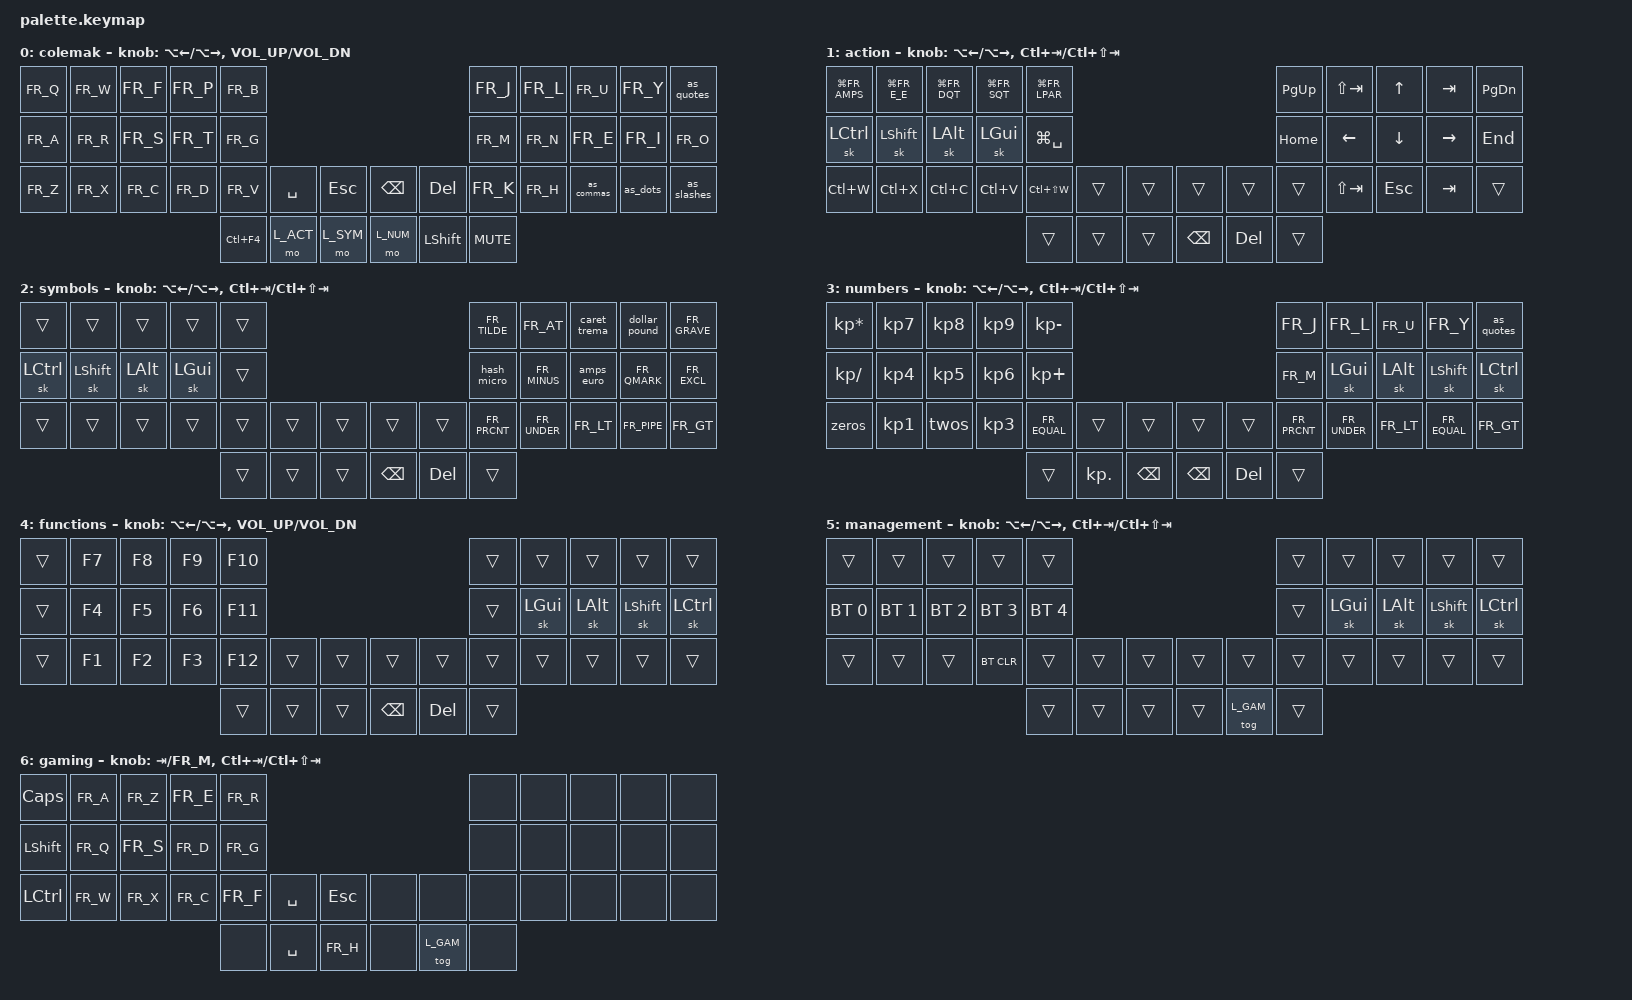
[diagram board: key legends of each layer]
#include <behaviors.dtsi>
#include <dt-bindings/zmk/keys.h>
#include <dt-bindings/zmk/bt.h>
#include <dt-bindings/zmk/outputs.h>
#include "keys_fr.h"
#include "layers.h"
#include "helpers.h"
#include "combos.h"

&caps_word {
    continue-list = <FR_M UNDERSCORE FR_MINUS BACKSPACE DELETE LSHIFT>;
};

&sk {
    release-after-ms = <10000>;
};

CUSTOM_KEY(zeros, FR_N0, FR_DEGREE)
CUSTOM_KEY(twos, FR_N2, FR_SQUARE)
CUSTOM_KEY(caret_trema, FR_CARET, FR_TREMA)
CUSTOM_KEY(amps_euro, FR_AMPS, FR_EURO)
CUSTOM_KEY(dollar_pound, FR_DOLLAR, FR_POUND_SIGN)
CUSTOM_KEY(hash_micro, FR_HASH, FR_MICRO)
CUSTOM_KEY(space_under, SPACE, FR_UNDER)

// BASE: Right hand custom keys with autoshift
CUSTOM_AUTOSHIFT(commas, FR_COMMA, FR_SEMI)
#define as_commas auto_shift_commas FR_SEMI 0

CUSTOM_AUTOSHIFT(dots, FR_DOT, FR_COLON)
#define as_dots auto_shift_dots FR_COLON 0

CUSTOM_AUTOSHIFT(quotes, FR_SINGLE_QUOTE, FR_DOUBLE_QUOTES)
#define as_quotes auto_shift_quotes FR_DOUBLE_QUOTES 0

CUSTOM_AUTOSHIFT(slashes, KP_SLASH, FR_BACKSLASH)
#define as_slashes auto_shift_slashes FR_BACKSLASH 0




/ {
    conditional_layers {
    };
    behaviors {
    };

    keymap {
        compatible = "zmk,keymap";

        base_layer {
            display-name = "colemak";
            bindings = <
// ╭───────────────┬───────────────┬───────────────┬───────────────┬───────────────╮                                                                          ╭───────────────┬───────────────┬───────────────┬───────────────┬───────────────╮
      &kp FR_Q        &kp FR_W        &kp FR_F        &kp FR_P        &kp FR_B                                                                                   &kp FR_J        &kp FR_L        &kp FR_U        &kp FR_Y        &as_quotes   
// ├───────────────┼───────────────┼───────────────┼───────────────┼───────────────┤                                                                          ├───────────────┼───────────────┼───────────────┼───────────────┼───────────────┤
      &kp FR_A        &kp FR_R        &kp FR_S        &kp FR_T        &kp FR_G                                                                                   &kp FR_M        &kp FR_N        &kp FR_E        &kp FR_I        &kp FR_O
// ├───────────────┼───────────────┼───────────────┼───────────────┼───────────────┼───────────────┬───────────────╮          ╭───────────────┬───────────────┼───────────────┼───────────────┼───────────────┼───────────────┼───────────────┤
      &kp FR_Z        &kp FR_X        &kp FR_C        &kp FR_D        &kp FR_V        &kp SPACE       &kp ESC                    &kp BSPC        &kp DEL         &kp FR_K        &kp FR_H        &as_commas      &as_dots        &as_slashes
// ╰───────────────┴───────────────┼───────────────┼───────────────┼───────────────┼───────────────┼───────────────┤          ├───────────────┼───────────────┼───────────────┼───────────────┼───────────────┼───────────────┴───────────────╯
                                                                      &kp LC(F4)      &mo L_ACT       &mo L_SYM                  &mo L_NUM       &kp LSHIFT      &kp C_MUTE
//                                                                 ╰───────────────┴───────────────┴───────────────╯          ╰───────────────┴───────────────┴───────────────╯
            >;
            sensor-bindings = <&inc_dec_kp LA(LEFT) LA(RIGHT) &inc_dec_kp C_VOL_UP C_VOL_DN>;
        };

        action_layer {
            display-name = "action";
            bindings = <
// ╭───────────────┬───────────────┬───────────────┬───────────────┬───────────────╮                                                                          ╭───────────────┬───────────────┬───────────────┬───────────────┬───────────────╮
    &kp LG(FR_AMPS) &kp LG(FR_E_E)  &kp LG(FR_DQT)  &kp LG(FR_SQT)  &kp LG(FR_LPAR)                                                                              &kp PAGE_UP     &kp LS(TAB)       &kp UP         &kp TAB       &kp PAGE_DOWN
// ├───────────────┼───────────────┼───────────────┼───────────────┼───────────────┤                                                                          ├───────────────┼───────────────┼───────────────┼───────────────┼───────────────┤
      &sk LCTRL       &sk LSHFT       &sk LALT        &sk LGUI        &kp LG(SPACE)                                                                              &kp HOME        &kp LEFT        &kp DOWN       &kp RIGHT       &kp END
// ├───────────────┼───────────────┼───────────────┼───────────────┼───────────────┼───────────────┬───────────────╮          ╭───────────────┬───────────────┼───────────────┼───────────────┼───────────────┼───────────────┼───────────────┤
      &kp LC(W)       &kp LC(X)       &kp LC(C)       &kp LC(V)       &kp LC(LS(W))   &trans          &trans                     &trans          &trans          &trans          &kp LS(TAB)      &kp ESC         &kp TAB         &trans
// ╰───────────────┴───────────────┼───────────────┼───────────────┼───────────────┼───────────────┼───────────────┤          ├───────────────┼───────────────┼───────────────┼───────────────┼───────────────┼───────────────┴───────────────╯
                                                                      &trans          &trans          &trans                     &kp BSPC        &kp DEL         &trans
//                                                                 ╰───────────────┴───────────────┴───────────────╯          ╰───────────────┴───────────────┴───────────────╯
            >;
            sensor-bindings = <&inc_dec_kp LA(LEFT) LA(RIGHT) &inc_dec_kp LC(TAB) LC(LS(TAB))>;
        };

        symbols_layer {
            display-name = "symbols";
            bindings = <
// ╭───────────────┬───────────────┬───────────────┬───────────────┬───────────────╮                                                                          ╭───────────────┬───────────────┬───────────────┬───────────────┬───────────────╮
      &trans          &trans          &trans          &trans          &trans                                                                                      &kp FR_TILDE    &kp FR_AT      &caret_trema   &dollar_pound    &kp FR_GRAVE
// ├───────────────┼───────────────┼───────────────┼───────────────┼───────────────┤                                                                          ├───────────────┼───────────────┼───────────────┼───────────────┼───────────────┤
      &sk LCTRL       &sk LSHFT       &sk LALT        &sk LGUI        &trans                                                                                     &hash_micro     &kp FR_MINUS    &amps_euro      &kp FR_QMARK    &kp FR_EXCL
// ├───────────────┼───────────────┼───────────────┼───────────────┼───────────────┼───────────────┬───────────────╮          ╭───────────────┬───────────────┼───────────────┼───────────────┼───────────────┼───────────────┼───────────────┤
      &trans          &trans          &trans          &trans          &trans          &trans           &trans                     &trans          &trans        &kp FR_PRCNT     &kp FR_UNDER    &kp FR_LT       &kp FR_PIPE     &kp FR_GT
// ╰───────────────┴───────────────┼───────────────┼───────────────┼───────────────┼───────────────┼───────────────┤          ├───────────────┼───────────────┼───────────────┼───────────────┼───────────────┼───────────────┴───────────────╯
                                                                      &trans          &trans           &trans                     &kp BSPC        &kp DEL         &trans
//                                                                 ╰───────────────┴───────────────┴───────────────╯          ╰───────────────┴───────────────┴───────────────╯
            >;
            sensor-bindings = <&inc_dec_kp LA(LEFT) LA(RIGHT) &inc_dec_kp LC(TAB) LC(LS(TAB))>;
        };

        numbers_layer {
            display-name = "numbers";
            bindings = <
// ╭───────────────┬───────────────┬───────────────┬───────────────┬───────────────╮                                                                          ╭───────────────┬───────────────┬───────────────┬───────────────┬───────────────╮
    &kp KP_MULTIPLY    &kp KP_N7      &kp KP_N8        &kp KP_N9      &kp KP_MINUS                                                                                &kp FR_J        &kp FR_L        &kp FR_U        &kp FR_Y        &as_quotes   
// ├───────────────┼───────────────┼───────────────┼───────────────┼───────────────┤                                                                          ├───────────────┼───────────────┼───────────────┼───────────────┼───────────────┤
      &kp KP_SLASH     &kp KP_N4      &kp KP_N5        &kp KP_N6      &kp KP_PLUS                                                                                 &kp FR_M        &sk LGUI        &sk LALT        &sk LSHFT       &sk LCTRL
// ├───────────────┼───────────────┼───────────────┼───────────────┼───────────────┼───────────────┬───────────────╮          ╭───────────────┬───────────────┼───────────────┼───────────────┼───────────────┼───────────────┼───────────────┤
         &zeros        &kp KP_N1        &twos          &kp KP_N3      &kp FR_EQUAL    &trans           &trans                    &trans           &trans         &kp FR_PRCNT     &kp FR_UNDER    &kp FR_LT       &kp FR_EQUAL    &kp FR_GT
// ╰───────────────┴───────────────┼───────────────┼───────────────┼───────────────┼───────────────┼───────────────┤          ├───────────────┼───────────────┼───────────────┼───────────────┼───────────────┼───────────────┴───────────────╯
                                                                      &trans          &kp KP_DOT       &kp BSPC                  &kp BSPC         &kp DEL         &trans
//                                                                 ╰───────────────┴───────────────┴───────────────╯          ╰───────────────┴───────────────┴───────────────╯
            >;
            sensor-bindings = <&inc_dec_kp LA(LEFT) LA(RIGHT) &inc_dec_kp LC(TAB) LC(LS(TAB))>;
        };

        functions_layer {
            display-name = "functions";
            bindings = <
// ╭───────────────┬───────────────┬───────────────┬───────────────┬───────────────╮                                                                          ╭───────────────┬───────────────┬───────────────┬───────────────┬───────────────╮
      &trans           &kp F7         &kp F8           &kp F9         &kp F10                                                                                     &trans          &trans          &trans          &trans          &trans
// ├───────────────┼───────────────┼───────────────┼───────────────┼───────────────┤                                                                          ├───────────────┼───────────────┼───────────────┼───────────────┼───────────────┤
      &trans           &kp F4         &kp F5           &kp F6         &kp F11                                                                                     &trans          &sk LGUI        &sk LALT        &sk LSHFT       &sk LCTRL
// ├───────────────┼───────────────┼───────────────┼───────────────┼───────────────┼───────────────┬───────────────╮          ╭───────────────┬───────────────┼───────────────┼───────────────┼───────────────┼───────────────┼───────────────┤
      &trans           &kp F1         &kp F2           &kp F3         &kp F12         &trans           &trans                    &trans           &trans          &trans          &trans          &trans          &trans          &trans
// ╰───────────────┴───────────────┼───────────────┼───────────────┼───────────────┼───────────────┼───────────────┤          ├───────────────┼───────────────┼───────────────┼───────────────┼───────────────┼───────────────┴───────────────╯
                                                                      &trans          &trans           &trans                    &kp BSPC         &kp DEL         &trans
//                                                                 ╰───────────────┴───────────────┴───────────────╯          ╰───────────────┴───────────────┴───────────────╯
            >;
            sensor-bindings = <&inc_dec_kp LA(LEFT) LA(RIGHT) &inc_dec_kp C_VOL_UP C_VOL_DN>;
        };


        management_layer {
            display-name = "management";
            bindings = <
// ╭───────────────┬───────────────┬───────────────┬───────────────┬───────────────╮                                                                          ╭───────────────┬───────────────┬───────────────┬───────────────┬───────────────╮
        &trans          &trans          &trans          &trans          &trans                                                                                      &trans          &trans          &trans          &trans          &trans
// ├───────────────┼───────────────┼───────────────┼───────────────┼───────────────┤                                                                          ├───────────────┼───────────────┼───────────────┼───────────────┼───────────────┤
      &bt BT_SEL 0    &bt BT_SEL 1    &bt BT_SEL 2    &bt BT_SEL 3    &bt BT_SEL 4                                                                                  &trans          &sk LGUI        &sk LALT        &sk LSHFT       &sk LCTRL
// ├───────────────┼───────────────┼───────────────┼───────────────┼───────────────┼───────────────┬───────────────╮          ╭───────────────┬───────────────┼───────────────┼───────────────┼───────────────┼───────────────┼───────────────┤
        &trans          &trans          &trans        &bt BT_CLR        &trans          &trans           &trans                     &trans          &trans          &trans          &trans          &trans          &trans          &trans
// ╰───────────────┴───────────────┼───────────────┼───────────────┼───────────────┼───────────────┼───────────────┤          ├───────────────┼───────────────┼───────────────┼───────────────┼───────────────┼───────────────┴───────────────╯
                                                                        &trans          &trans           &trans                     &trans       &tog L_GAM         &trans
//                                                                 ╰───────────────┴───────────────┴───────────────╯          ╰───────────────┴───────────────┴───────────────╯
            >;
            sensor-bindings = <&inc_dec_kp LA(LEFT) LA(RIGHT) &inc_dec_kp LC(TAB) LC(LS(TAB))>;
        };

        gaming_layer {
            display-name = "gaming";
            bindings = <
// ╭───────────────┬───────────────┬───────────────┬───────────────┬───────────────╮                                                                          ╭───────────────┬───────────────┬───────────────┬───────────────┬───────────────╮
       &kp CAPS         &kp FR_A        &kp FR_Z        &kp FR_E        &kp FR_R                                                                                     &none           &none           &none           &none           &none
// ├───────────────┼───────────────┼───────────────┼───────────────┼───────────────┤                                                                          ├───────────────┼───────────────┼───────────────┼───────────────┼───────────────┤
       &kp LSHIFT       &kp FR_Q        &kp FR_S        &kp FR_D        &kp FR_G                                                                                     &none           &none           &none           &none           &none
// ├───────────────┼───────────────┼───────────────┼───────────────┼───────────────┼───────────────┬───────────────╮          ╭───────────────┬───────────────┼───────────────┼───────────────┼───────────────┼───────────────┼───────────────┤
       &kp LCTRL        &kp FR_W        &kp FR_X        &kp FR_C        &kp FR_F       &kp SPACE        &kp ESC                      &none           &none           &none           &none           &none           &none           &none
// ╰───────────────┴───────────────┼───────────────┼───────────────┼───────────────┼───────────────┼───────────────┤          ├───────────────┼───────────────┼───────────────┼───────────────┼───────────────┼───────────────┴───────────────╯
                                                                         &none         &kp SPACE       &kp FR_H                      &none       &tog L_GAM          &none
//                                                                 ╰───────────────┴───────────────┴───────────────╯          ╰───────────────┴───────────────┴───────────────╯
            >;
            sensor-bindings = <&inc_dec_kp TAB FR_M &inc_dec_kp LC(TAB) LC(LS(TAB))>;
        };
    };
};







// ╭───────────────┬───────────────┬───────────────┬───────────────┬───────────────╮                                                                          ╭───────────────┬───────────────┬───────────────┬───────────────┬───────────────╮
//      &trans          &trans          &trans          &trans          &trans                                                                                      &trans          &trans          &trans          &trans          &trans
// ├───────────────┼───────────────┼───────────────┼───────────────┼───────────────┤                                                                          ├───────────────┼───────────────┼───────────────┼───────────────┼───────────────┤
//      &sk LCTRL       &sk LSHFT       &sk LALT        &sk LGUI        &trans                                                                                      &trans          &sk LGUI        &sk LALT        &sk LSHFT       &sk LCTRL
// ├───────────────┼───────────────┼───────────────┼───────────────┼───────────────┼───────────────┬───────────────╮          ╭───────────────┬───────────────┼───────────────┼───────────────┼───────────────┼───────────────┼───────────────┤
//      &trans          &trans          &trans          &trans          &trans          &trans           &trans                     &trans          &trans          &trans          &trans          &trans          &trans          &trans
// ╰───────────────┴───────────────┼───────────────┼───────────────┼───────────────┼───────────────┼───────────────┤          ├───────────────┼───────────────┼───────────────┼───────────────┼───────────────┼───────────────┴───────────────╯
//                                                                      &trans          &trans           &trans                     &trans          &trans          &trans
//                                                                 ╰───────────────┴───────────────┴───────────────╯          ╰───────────────┴───────────────┴───────────────╯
